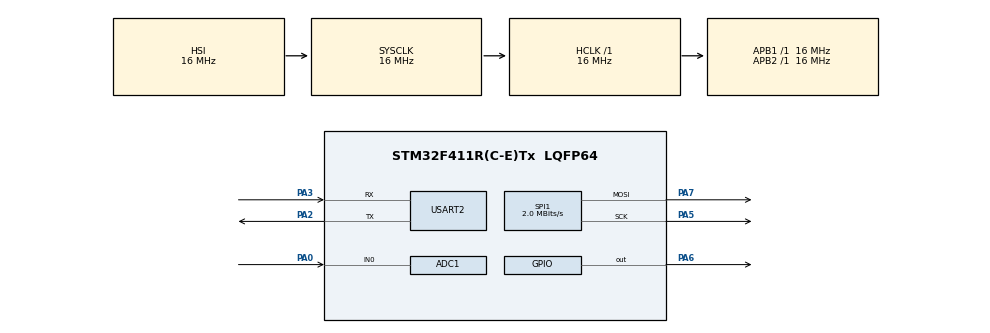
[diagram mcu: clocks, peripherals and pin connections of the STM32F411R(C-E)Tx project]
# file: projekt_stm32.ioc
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ADC1.Channel-4\#ChannelRegularConversion=ADC_CHANNEL_0
ADC1.ExternalTrigConv=ADC_EXTERNALTRIGCONV_T2_TRGO
ADC1.NbrOfConversionFlag=1
ADC1.Rank-4\#ChannelRegularConversion=1
ADC1.SamplingTime-4\#ChannelRegularConversion=ADC_SAMPLETIME_3CYCLES
ADC1.master=1
Mcu.Family=STM32F4
Mcu.Name=STM32F411R(C-E)Tx
Mcu.Package=LQFP64
NVIC.ADC_IRQn=true\:0\:0\:false\:false\:true\:true\:true\:true
NVIC.PriorityGroup=NVIC_PRIORITYGROUP_4
NVIC.TIM2_IRQn=true\:0\:0\:false\:false\:true\:true\:true\:true
NVIC.USART2_IRQn=true\:0\:0\:false\:false\:true\:true\:true\:true
PA0-WKUP.Signal=ADCx_IN0
PA2.Mode=Asynchronous
PA2.Signal=USART2_TX
PA3.Mode=Asynchronous
PA3.Signal=USART2_RX
PA5.Mode=TX_Only_Simplex_Unidirect_Master
PA5.Signal=SPI1_SCK
PA6.Signal=GPIO_Output
PA7.Mode=TX_Only_Simplex_Unidirect_Master
PA7.Signal=SPI1_MOSI
ProjectManager.HeapSize=0x200
ProjectManager.StackSize=0x400
ProjectManager.TargetToolchain=STM32CubeIDE
RCC.AHBFreq_Value=16000000
RCC.APB1Freq_Value=16000000
RCC.APB2Freq_Value=16000000
RCC.CortexFreq_Value=16000000
RCC.HSE_VALUE=25000000
RCC.HSI_VALUE=16000000
RCC.LSE_VALUE=32768
RCC.SYSCLKFreq_VALUE=16000000
RCC.VCOOutputFreq_Value=192000000
SH.ADCx_IN0.0=ADC1_IN0,IN0
SPI1.BaudRatePrescaler=SPI_BAUDRATEPRESCALER_8
SPI1.CalculateBaudRate=2.0 MBits/s
SPI1.DataSize=SPI_DATASIZE_16BIT
SPI1.Direction=SPI_DIRECTION_2LINES
SPI1.FirstBit=SPI_FIRSTBIT_MSB
SPI1.Mode=SPI_MODE_MASTER
SPI1.VirtualType=VM_MASTER
TIM2.Period=3999
TIM2.Prescaler=15
TIM2.TIM_MasterOutputTrigger=TIM_TRGO_UPDATE
USART2.VirtualMode=VM_ASYNC
VP_TIM2_VS_ClockSourceINT.Mode=Internal
board=custom

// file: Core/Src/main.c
/* USER CODE BEGIN Header */
/**
  ******************************************************************************
  * @file           : main.c
  * @brief          : Main program body
  ******************************************************************************
  * @attention
  *
  * Copyright (c) 2026 STMicroelectronics.
  * All rights reserved.
  *
  * This software is licensed under terms that can be found in the LICENSE file
  * in the root directory of this software component.
  * If no LICENSE file comes with this software, it is provided AS-IS.
  *
  ******************************************************************************
  */
/* USER CODE END Header */
#include "main.h"
#include "adc.h"
#include "spi.h"
#include "tim.h"
#include "usart.h"
#include "gpio.h"

/* USER CODE BEGIN Includes */
#include <stdio.h>
#include <string.h>
/* USER CODE END Includes */

/* USER CODE BEGIN PV */
char uart_buffer[30];
/* USER CODE END PV */

void SystemClock_Config(void);

int main(void)
{

  /* MCU Configuration--------------------------------------------------------*/

  /* Reset of all peripherals, Initializes the Flash interface and the Systick. */
  HAL_Init();

  /* Configure the system clock */
  SystemClock_Config();

  /* Initialize all configured peripherals */
  MX_GPIO_Init();
  MX_ADC1_Init();
  MX_SPI1_Init();
  MX_TIM2_Init();
  MX_USART2_UART_Init();
  /* USER CODE BEGIN 2 */
  //inicjalizacja pinu do ogłaszania transmisji (CS)
  HAL_GPIO_WritePin(GPIOA, GPIO_PIN_6, GPIO_PIN_SET);

  HAL_TIM_Base_Start(&htim2);
  HAL_ADC_Start_IT(&hadc1);
  /* USER CODE END 2 */

  /* Infinite loop */
  while (1)
  {

  }
}

void SystemClock_Config(void)
{
  RCC_OscInitTypeDef RCC_OscInitStruct = {0};
  RCC_ClkInitTypeDef RCC_ClkInitStruct = {0};

  /** Configure the main internal regulator output voltage
  */
  __HAL_RCC_PWR_CLK_ENABLE();
  __HAL_PWR_VOLTAGESCALING_CONFIG(PWR_REGULATOR_VOLTAGE_SCALE1);

  /** Initializes the RCC Oscillators according to the specified parameters
  * in the RCC_OscInitTypeDef structure.
  */
  RCC_OscInitStruct.OscillatorType = RCC_OSCILLATORTYPE_HSI;
  RCC_OscInitStruct.HSIState = RCC_HSI_ON;
  RCC_OscInitStruct.HSICalibrationValue = RCC_HSICALIBRATION_DEFAULT;
  RCC_OscInitStruct.PLL.PLLState = RCC_PLL_NONE;
  if (HAL_RCC_OscConfig(&RCC_OscInitStruct) != HAL_OK)
  {
    Error_Handler();
  }

  /** Initializes the CPU, AHB and APB buses clocks
  */
  RCC_ClkInitStruct.ClockType = RCC_CLOCKTYPE_HCLK|RCC_CLOCKTYPE_SYSCLK
                              |RCC_CLOCKTYPE_PCLK1|RCC_CLOCKTYPE_PCLK2;
  RCC_ClkInitStruct.SYSCLKSource = RCC_SYSCLKSOURCE_HSI;
  RCC_ClkInitStruct.AHBCLKDivider = RCC_SYSCLK_DIV1;
  RCC_ClkInitStruct.APB1CLKDivider = RCC_HCLK_DIV1;
  RCC_ClkInitStruct.APB2CLKDivider = RCC_HCLK_DIV1;

  if (HAL_RCC_ClockConfig(&RCC_ClkInitStruct, FLASH_LATENCY_0) != HAL_OK)
  {
    Error_Handler();
  }
}

/* USER CODE BEGIN 4 */
void HAL_ADC_ConvCpltCallback(ADC_HandleTypeDef *hadc) {
	uint16_t ecg_readout;
	if(hadc->Instance == ADC1) {

		//1. Odczyt EKG
		ecg_readout = (uint16_t)HAL_ADC_GetValue(hadc);

		// 2. Wysyłka SPI
		HAL_GPIO_WritePin(GPIOA, GPIO_PIN_6, GPIO_PIN_RESET);
		HAL_SPI_Transmit(&hspi1, (uint8_t*)&ecg_readout, 1, 10);
		HAL_GPIO_WritePin(GPIOA, GPIO_PIN_6, GPIO_PIN_SET);

		//liczenie dlugosci ramki, konwersja na string i wpisanie wartosci do bufora
		int msg_len = sprintf(uart_buffer, "EKG: %u\r\n", ecg_readout);

		//czy uart skonczyl wysylac poprzednie dane
		if(huart2.gState == HAL_UART_STATE_READY){
			HAL_UART_Transmit_IT(&huart2, (uint8_t*)uart_buffer, msg_len);
		}

	}
}
/* USER CODE END 4 */

void Error_Handler(void)
{
  __disable_irq();
  while (1)
  {
  }
}
